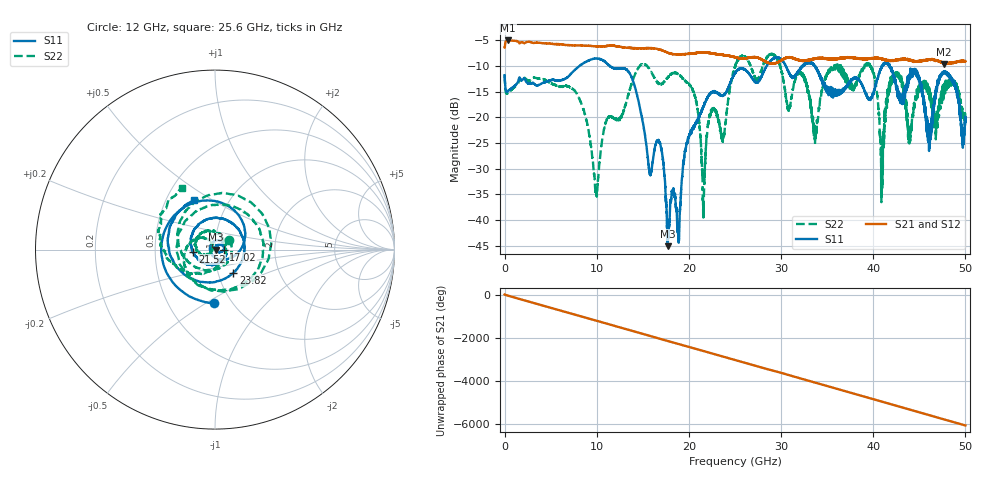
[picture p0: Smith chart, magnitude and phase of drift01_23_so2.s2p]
!Created with skrf (http://scikit-rf.org).
# Hz S RI R 50.0
!freq ReS11 ImS11 ReS21 ImS21 ReS12 ImS12 ReS22 ImS22
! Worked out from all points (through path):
!   10001 points, 300 kHz to 50 GHz, reference 50 ohm
!   highest |S21| = -5.06 dB at 365.3 MHz (marker M1); lowest = -9.7 dB at 47.67 GHz (marker M2)
!   group delay of S21, straight-line fit = 336 ps
!   lowest |S11| = -45.1 dB at 17.69 GHz (marker M3), VSWR 1.01, Z = 50.6 - j0.0923 ohm
!   |S11| at or under -10 dB: start of sweep to 8.151 GHz; 11.4 GHz to 28.44 GHz (17.04 GHz wide, 85.5 % of centre); 41.8 GHz to end of sweep (the widest 3 of 10)
!   |S22| runs from -39.7 to -7.7 dB; largest |S21 - S12| = 0.013
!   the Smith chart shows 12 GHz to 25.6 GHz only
!   S11 on the Smith chart (normalised r, x): 12 GHz: 0.83, -0.54; 17.02 GHz: 1.10, -0.00; 21.52 GHz: 0.78, -0.02; 23.82 GHz: 1.18, -0.31; 25.6 GHz: 0.69, +0.42
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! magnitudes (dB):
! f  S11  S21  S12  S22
! 300 kHz  -11.8  -6.4  -6.5  -11.8
! 365.3 MHz  -14.9  -5.1  -5.1  -15.3
! 8.335 GHz  -9.7  -6.0  -6.0  -17.4
! 9.935 GHz  -8.6  -6.2  -6.2  -34.5
! 12 GHz  -10.5  -6.1  -6.1  -20.3
! 15.77 GHz  -31.0  -6.5  -6.6  -10.8
! 16.67 GHz  -24.5  -6.8  -6.8  -13.4
! 17.02 GHz  -26.3  -6.9  -6.9  -13.6
! 17.69 GHz  -45.1  -7.4  -7.4  -12.3
! 20.5 GHz  -22.1  -7.6  -7.6  -15.1
! 21.52 GHz  -18.1  -7.4  -7.4  -35.5
! 22.45 GHz  -15.2  -7.5  -7.5  -18.8
! 23.82 GHz  -15.6  -7.9  -7.9  -23.6
! 25 GHz  -11.4  -8.3  -8.4  -10.3
! 25.6 GHz  -10.6  -8.5  -8.6  -8.1
! 33.34 GHz  -9.5  -8.7  -8.7  -20.0
! 39.49 GHz  -16.3  -8.6  -8.7  -9.9
! 40.95 GHz  -10.1  -8.6  -8.6  -30.2
! 41.67 GHz  -9.8  -8.9  -9.0  -14.8
! 46.1 GHz  -25.2  -8.8  -8.8  -14.9
! 47.67 GHz  -11.0  -9.7  -9.6  -14.8
! 50 GHz  -20.9  -9.1  -9.2  -20.1
